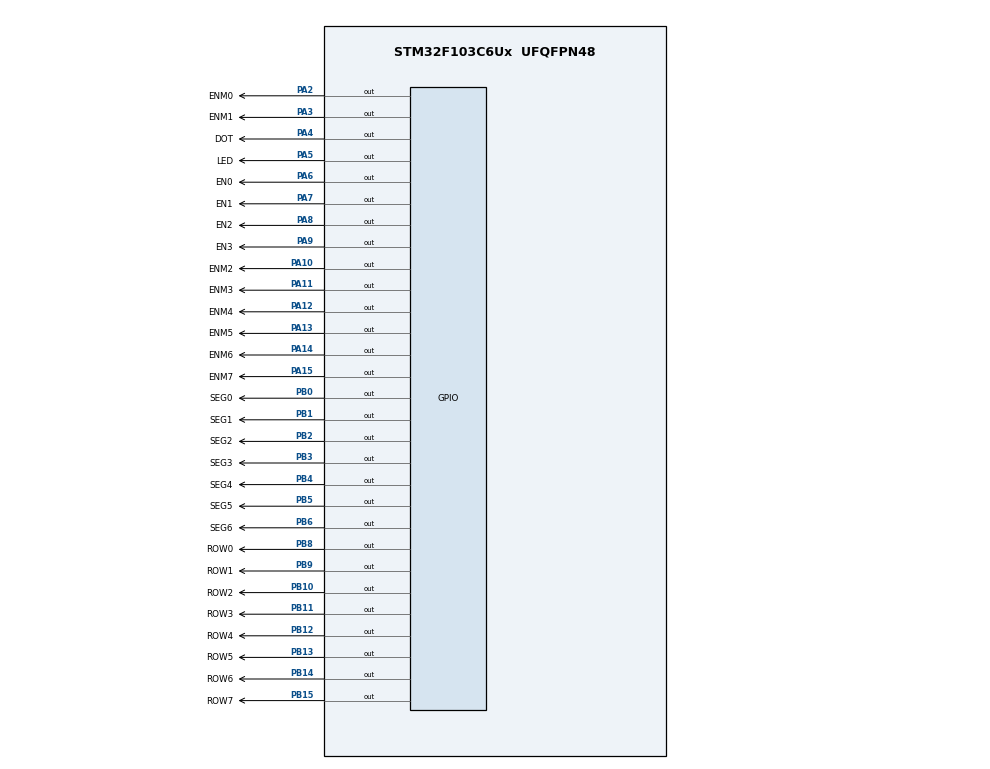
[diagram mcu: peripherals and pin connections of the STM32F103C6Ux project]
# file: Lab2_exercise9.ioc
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Mcu.Family=STM32F1
Mcu.Name=STM32F103C6Ux
Mcu.Package=UFQFPN48
NVIC.PriorityGroup=NVIC_PRIORITYGROUP_4
NVIC.TIM2_IRQn=true\:0\:0\:false\:false\:true\:true\:true
PA10.GPIO_Label=ENM2
PA10.Signal=GPIO_Output
PA11.GPIO_Label=ENM3
PA11.Signal=GPIO_Output
PA12.GPIO_Label=ENM4
PA12.Signal=GPIO_Output
PA13.GPIO_Label=ENM5
PA13.Signal=GPIO_Output
PA14.GPIO_Label=ENM6
PA14.Signal=GPIO_Output
PA15.GPIO_Label=ENM7
PA15.Signal=GPIO_Output
PA2.GPIO_Label=ENM0
PA2.Signal=GPIO_Output
PA3.GPIO_Label=ENM1
PA3.Signal=GPIO_Output
PA4.GPIO_Label=DOT
PA4.Signal=GPIO_Output
PA5.GPIO_Label=LED
PA5.Signal=GPIO_Output
PA6.GPIO_Label=EN0
PA6.Signal=GPIO_Output
PA7.GPIO_Label=EN1
PA7.Signal=GPIO_Output
PA8.GPIO_Label=EN2
PA8.Signal=GPIO_Output
PA9.GPIO_Label=EN3
PA9.Signal=GPIO_Output
PB0.GPIO_Label=SEG0
PB0.Signal=GPIO_Output
PB1.GPIO_Label=SEG1
PB1.Signal=GPIO_Output
PB10.GPIO_Label=ROW2
PB10.Signal=GPIO_Output
PB11.GPIO_Label=ROW3
PB11.Signal=GPIO_Output
PB12.GPIO_Label=ROW4
PB12.Signal=GPIO_Output
PB13.GPIO_Label=ROW5
PB13.Signal=GPIO_Output
PB14.GPIO_Label=ROW6
PB14.Signal=GPIO_Output
PB15.GPIO_Label=ROW7
PB15.Signal=GPIO_Output
PB2.GPIO_Label=SEG2
PB2.Signal=GPIO_Output
PB3.GPIO_Label=SEG3
PB3.Signal=GPIO_Output
PB4.GPIO_Label=SEG4
PB4.Signal=GPIO_Output
PB5.GPIO_Label=SEG5
PB5.Signal=GPIO_Output
PB6.GPIO_Label=SEG6
PB6.Signal=GPIO_Output
PB8.GPIO_Label=ROW0
PB8.Signal=GPIO_Output
PB9.GPIO_Label=ROW1
PB9.Signal=GPIO_Output
ProjectManager.HeapSize=0x200
ProjectManager.StackSize=0x400
ProjectManager.TargetToolchain=STM32CubeIDE
RCC.APB1Freq_Value=8000000
RCC.APB2Freq_Value=8000000
TIM2.Period=9
TIM2.Prescaler=7999
VP_SYS_VS_ND.Mode=No_Debug
VP_TIM2_VS_ClockSourceINT.Mode=Internal
board=custom

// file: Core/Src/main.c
/* USER CODE BEGIN Header */
/**
  ******************************************************************************
  * @file           : main.c
  * @brief          : Main program body
  ******************************************************************************
  * @attention
  *
  * <h2><center>&copy; Copyright (c) 2025 STMicroelectronics.
  * All rights reserved.</center></h2>
  *
  * This software component is licensed by ST under BSD 3-Clause license,
  * the "License"; You may not use this file except in compliance with the
  * License. You may obtain a copy of the License at:
  *                        opensource.org/licenses/BSD-3-Clause
  *
  ******************************************************************************
  */
/* USER CODE END Header */
#include "main.h"
#include "Ex9.h"

TIM_HandleTypeDef htim2;

void SystemClock_Config(void);
static void MX_GPIO_Init(void);
static void MX_TIM2_Init(void);

/* USER CODE BEGIN 0 */
int timer0_counter = 0;
int timer0_flag = 0;
int TIMER_CYCLE = 10;

void setTimer0(int duration){
	timer0_counter = duration;
	timer0_flag = 0;
}

void timer_run () {
	if( timer0_counter > 0) {
		timer0_counter--;
		if( timer0_counter == 0) timer0_flag = 1;	//Expired
	}
}
/* USER CODE END 0 */

int main(void)
{

  /* MCU Configuration--------------------------------------------------------*/

  /* Reset of all peripherals, Initializes the Flash interface and the Systick. */
  HAL_Init();

  /* Configure the system clock */
  SystemClock_Config();

  /* Initialize all configured peripherals */
  MX_GPIO_Init();
  MX_TIM2_Init();
  /* USER CODE BEGIN 2 */
  HAL_TIM_Base_Start_IT(&htim2);
  /* USER CODE END 2 */

  /* Infinite loop */
  /* USER CODE BEGIN WHILE */

  const int MAX_LED_MATRIX = 8;
  int index_led_matrix = 0;
  setTimer0(50);
  while (1)
  {

    /* USER CODE END WHILE */
	  if (timer0_flag == 1) {
		  	  setTimer0(10);

	          updateLEDMatrix(index_led_matrix);
	          index_led_matrix++;
	          if (index_led_matrix >= MAX_LED_MATRIX) index_led_matrix = 0;

	   }
  }
}

void SystemClock_Config(void)
{
  RCC_OscInitTypeDef RCC_OscInitStruct = {0};
  RCC_ClkInitTypeDef RCC_ClkInitStruct = {0};

  /** Initializes the RCC Oscillators according to the specified parameters
  * in the RCC_OscInitTypeDef structure.
  */
  RCC_OscInitStruct.OscillatorType = RCC_OSCILLATORTYPE_HSI;
  RCC_OscInitStruct.HSIState = RCC_HSI_ON;
  RCC_OscInitStruct.HSICalibrationValue = RCC_HSICALIBRATION_DEFAULT;
  RCC_OscInitStruct.PLL.PLLState = RCC_PLL_NONE;
  if (HAL_RCC_OscConfig(&RCC_OscInitStruct) != HAL_OK)
  {
    Error_Handler();
  }
  /** Initializes the CPU, AHB and APB buses clocks
  */
  RCC_ClkInitStruct.ClockType = RCC_CLOCKTYPE_HCLK|RCC_CLOCKTYPE_SYSCLK
                              |RCC_CLOCKTYPE_PCLK1|RCC_CLOCKTYPE_PCLK2;
  RCC_ClkInitStruct.SYSCLKSource = RCC_SYSCLKSOURCE_HSI;
  RCC_ClkInitStruct.AHBCLKDivider = RCC_SYSCLK_DIV1;
  RCC_ClkInitStruct.APB1CLKDivider = RCC_HCLK_DIV1;
  RCC_ClkInitStruct.APB2CLKDivider = RCC_HCLK_DIV1;

  if (HAL_RCC_ClockConfig(&RCC_ClkInitStruct, FLASH_LATENCY_0) != HAL_OK)
  {
    Error_Handler();
  }
}

static void MX_TIM2_Init(void)
{

  TIM_ClockConfigTypeDef sClockSourceConfig = {0};
  TIM_MasterConfigTypeDef sMasterConfig = {0};

  htim2.Instance = TIM2;
  htim2.Init.Prescaler = 7999;
  htim2.Init.CounterMode = TIM_COUNTERMODE_UP;
  htim2.Init.Period = 9;
  htim2.Init.ClockDivision = TIM_CLOCKDIVISION_DIV1;
  htim2.Init.AutoReloadPreload = TIM_AUTORELOAD_PRELOAD_DISABLE;
  if (HAL_TIM_Base_Init(&htim2) != HAL_OK)
  {
    Error_Handler();
  }
  sClockSourceConfig.ClockSource = TIM_CLOCKSOURCE_INTERNAL;
  if (HAL_TIM_ConfigClockSource(&htim2, &sClockSourceConfig) != HAL_OK)
  {
    Error_Handler();
  }
  sMasterConfig.MasterOutputTrigger = TIM_TRGO_RESET;
  sMasterConfig.MasterSlaveMode = TIM_MASTERSLAVEMODE_DISABLE;
  if (HAL_TIMEx_MasterConfigSynchronization(&htim2, &sMasterConfig) != HAL_OK)
  {
    Error_Handler();
  }

}

static void MX_GPIO_Init(void)
{
  GPIO_InitTypeDef GPIO_InitStruct = {0};

  /* GPIO Ports Clock Enable */
  __HAL_RCC_GPIOA_CLK_ENABLE();
  __HAL_RCC_GPIOB_CLK_ENABLE();

  /*Configure GPIO pin Output Level */
  HAL_GPIO_WritePin(GPIOA, ENM0_Pin|ENM1_Pin|DOT_Pin|LED_Pin
                          |EN0_Pin|EN1_Pin|EN2_Pin|EN3_Pin
                          |ENM2_Pin|ENM3_Pin|ENM4_Pin|ENM5_Pin
                          |ENM6_Pin|ENM7_Pin, GPIO_PIN_RESET);

  /*Configure GPIO pin Output Level */
  HAL_GPIO_WritePin(GPIOB, SEG0_Pin|SEG1_Pin|SEG2_Pin|ROW2_Pin
                          |ROW3_Pin|ROW4_Pin|ROW5_Pin|ROW6_Pin
                          |ROW7_Pin|SEG3_Pin|SEG4_Pin|SEG5_Pin
                          |SEG6_Pin|ROW0_Pin|ROW1_Pin, GPIO_PIN_RESET);

  /*Configure GPIO pins : ENM0_Pin ENM1_Pin DOT_Pin LED_Pin
                           EN0_Pin EN1_Pin EN2_Pin EN3_Pin
                           ENM2_Pin ENM3_Pin ENM4_Pin ENM5_Pin
                           ENM6_Pin ENM7_Pin */
  GPIO_InitStruct.Pin = ENM0_Pin|ENM1_Pin|DOT_Pin|LED_Pin
                          |EN0_Pin|EN1_Pin|EN2_Pin|EN3_Pin
                          |ENM2_Pin|ENM3_Pin|ENM4_Pin|ENM5_Pin
                          |ENM6_Pin|ENM7_Pin;
  GPIO_InitStruct.Mode = GPIO_MODE_OUTPUT_PP;
  GPIO_InitStruct.Pull = GPIO_NOPULL;
  GPIO_InitStruct.Speed = GPIO_SPEED_FREQ_LOW;
  HAL_GPIO_Init(GPIOA, &GPIO_InitStruct);

  /*Configure GPIO pins : SEG0_Pin SEG1_Pin SEG2_Pin ROW2_Pin
                           ROW3_Pin ROW4_Pin ROW5_Pin ROW6_Pin
                           ROW7_Pin SEG3_Pin SEG4_Pin SEG5_Pin
                           SEG6_Pin ROW0_Pin ROW1_Pin */
  GPIO_InitStruct.Pin = SEG0_Pin|SEG1_Pin|SEG2_Pin|ROW2_Pin
                          |ROW3_Pin|ROW4_Pin|ROW5_Pin|ROW6_Pin
                          |ROW7_Pin|SEG3_Pin|SEG4_Pin|SEG5_Pin
                          |SEG6_Pin|ROW0_Pin|ROW1_Pin;
  GPIO_InitStruct.Mode = GPIO_MODE_OUTPUT_PP;
  GPIO_InitStruct.Pull = GPIO_NOPULL;
  GPIO_InitStruct.Speed = GPIO_SPEED_FREQ_LOW;
  HAL_GPIO_Init(GPIOB, &GPIO_InitStruct);

}

/* USER CODE BEGIN 4 */
void HAL_TIM_PeriodElapsedCallback(TIM_HandleTypeDef *htim)
{

	timer_run();

}
/* USER CODE END 4 */

void Error_Handler(void)
{
  __disable_irq();
  while (1)
  {
  }
}

/************************ (C) COPYRIGHT STMicroelectronics *****END OF FILE****/
